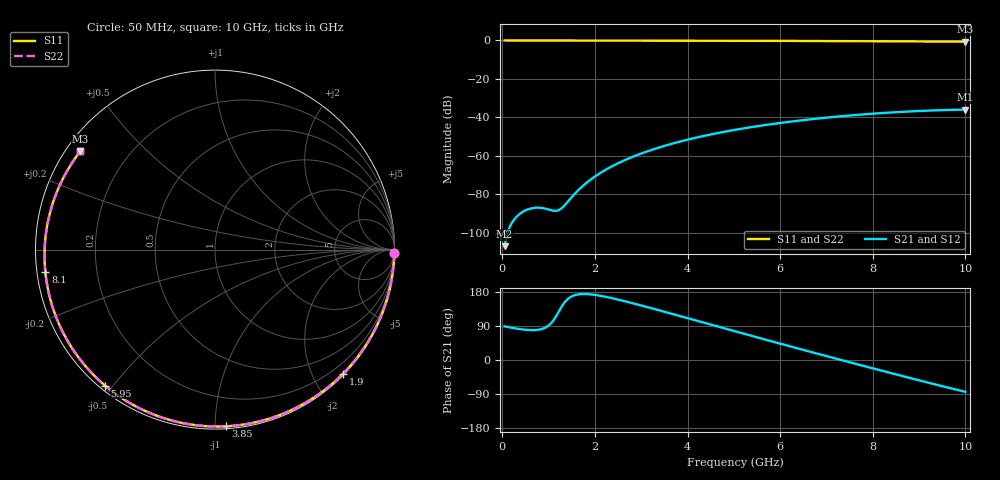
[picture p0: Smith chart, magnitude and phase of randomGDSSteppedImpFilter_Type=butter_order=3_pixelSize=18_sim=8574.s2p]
! freq	dB(S11)	phase(S11)	dB(S12)	phase(S12)
!  dB(S21)	phase(S21)	dB(S22)	phase(S22)
!S-par simulation data
#  GHz  S  DB  R 50
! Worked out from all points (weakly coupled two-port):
!   200 points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, 50 MHz to 10 GHz, reference 50 ohm
!   highest |S21| = -35.96 dB at 10 GHz (marker M1); lowest = -107.1 dB at 50 MHz (marker M2)
!   lowest |S11| = -0.6 dB at 10 GHz (marker M3), VSWR 27.14, Z = 2.04 + j16.3 ohm
!   |S11| at or under -10 dB: nowhere
!   |S22| runs from -0.6 to 0.0 dB; largest |S21 - S12| = 0
!   S11 on the Smith chart (normalised r, x): 50 MHz: open; 1.9 GHz: 0.02, -2.46; 3.85 GHz: 0.01, -1.06; 5.95 GHz: 0.02, -0.48; 8.1 GHz: 0.02, -0.07; 10 GHz: 0.04, +0.33
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0.05  -0.00 -1.2  -107.06 88.8  -107.06 88.8  -0.00 -1.2
0.45  -0.02 -10.6  -89.09 80.4  -89.09 80.4  -0.02 -10.6
0.8  -0.02 -18.9  -87.05 80.1  -87.05 80.1  -0.02 -18.9
1.55  -0.05 -36.3  -80.19 170.4  -80.19 170.4  -0.05 -36.3
1.75  -0.05 -40.8  -75.48 174.2  -75.48 174.2  -0.05 -40.8
1.9  -0.06 -44.2  -72.55 173.3  -72.55 173.3  -0.06 -44.2
2.2  -0.07 -51.0  -67.74 167.5  -67.74 167.5  -0.07 -51.0
2.55  -0.08 -58.7  -63.34 157.9  -63.34 157.9  -0.08 -58.7
2.95  -0.09 -67.5  -59.29 145.5  -59.29 145.5  -0.09 -67.5
3.4  -0.10 -77.1  -55.60 130.7  -55.60 130.7  -0.10 -77.1
3.85  -0.12 -86.6  -52.54 115.6  -52.54 115.6  -0.12 -86.6
4.45  -0.14 -98.9  -49.18 95.2  -49.18 95.2  -0.14 -98.9
5.05  -0.17 -111.0  -46.41 74.9  -46.41 74.9  -0.17 -111.0
5.95  -0.23 -128.9  -43.10 44.8  -43.10 44.8  -0.23 -128.9
6.7  -0.28 -143.8  -40.92 20.1  -40.92 20.1  -0.28 -143.8
7.4  -0.34 -157.9  -39.27 -2.7  -39.27 -2.7  -0.34 -157.9
8.1  -0.41 -172.5  -37.95 -25.2  -37.95 -25.2  -0.41 -172.5
8.35  -0.44 -177.8  -37.55 -33.2  -37.55 -33.2  -0.44 -177.8
8.8  -0.49 172.3  -36.94 -47.4  -36.94 -47.4  -0.49 172.3
9.2  -0.54 163.2  -36.50 -59.9  -36.50 -59.9  -0.54 163.2
9.6  -0.59 153.7  -36.18 -72.1  -36.18 -72.1  -0.59 153.7
10  -0.64 143.8  -35.96 -84.1  -35.96 -84.1  -0.64 143.8
